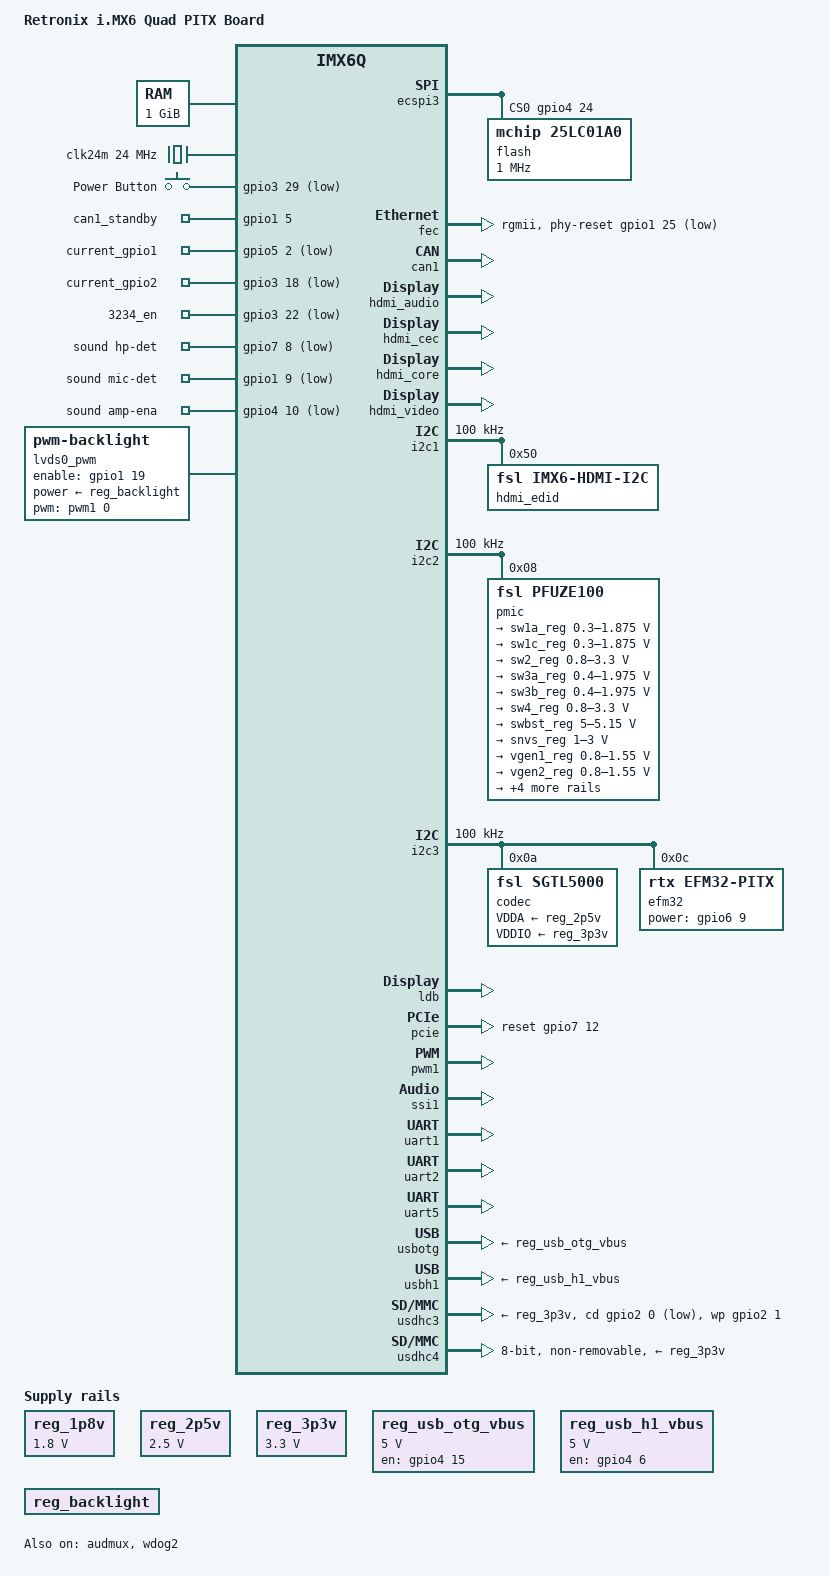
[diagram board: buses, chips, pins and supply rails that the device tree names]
/*
 * Copyright 2012 Freescale Semiconductor, Inc.
 * Copyright 2011 Linaro Ltd.
 *
 * The code contained herein is licensed under the GNU General Public
 * License. You may obtain a copy of the GNU General Public License
 * Version 2 or later at the following locations:
 *
 * http://www.opensource.org/licenses/gpl-license.html
 * http://www.gnu.org/copyleft/gpl.html
 */

/dts-v1/;

#include "skeleton.dtsi"
#include "imx6q-pinfunc.h"
#include <dt-bindings/gpio/gpio.h>
#include <dt-bindings/interrupt-controller/arm-gic.h>
#include <dt-bindings/clock/imx6qdl-clock.h>
#include <dt-bindings/input/input.h>
#include "rtx-imx6q-soc.dtsi"
#include "rtx-imx6q-pitx-b21-iomux.dtsi"

/ {
	model = "Retronix i.MX6 Quad PITX Board";
	compatible = "rtx,rtx-imx6q-pitx", "fsl,imx6q";

	aliases {
		mxcfb0 = &mxcfb1;
		mxcfb1 = &mxcfb2;
		mxcfb2 = &mxcfb3;
		mxcfb3 = &mxcfb4;
	};

	memory {
		reg = <0x10000000 0x40000000>;
	};

	clocks {
		clk24m: clk24m {
			compatible = "fixed-clock";
			#clock-cells = <0>;
			clock-frequency = <24000000>;
		};
	};

	regulators {
		compatible = "simple-bus";
		#address-cells = <1>;
		#size-cells = <0>;

		reg_1p8v: 1p8v {
			compatible = "regulator-fixed";
			regulator-name = "1P8V";
			regulator-min-microvolt = <1800000>;
			regulator-max-microvolt = <1800000>;
			regulator-always-on;
		};

		reg_2p5v: 2p5v {
			compatible = "regulator-fixed";
			regulator-name = "2P5V";
			regulator-min-microvolt = <2500000>;
			regulator-max-microvolt = <2500000>;
			regulator-always-on;
		};

		reg_3p3v: 3p3v {
			compatible = "regulator-fixed";
			regulator-name = "3P3V";
			regulator-min-microvolt = <3300000>;
			regulator-max-microvolt = <3300000>;
			regulator-always-on;
		};

		reg_usb_otg_vbus: usb_otg_vbus {
			compatible = "regulator-fixed";
			regulator-name = "usb_otg_vbus";
			regulator-min-microvolt = <5000000>;
			regulator-max-microvolt = <5000000>;
			gpio = <&gpio4 15 0>;
			enable-active-high;
		};

		reg_usb_h1_vbus: usb_h1_vbus {
			compatible = "regulator-fixed";
			regulator-name = "usb_h1_vbus";
			regulator-min-microvolt = <5000000>;
			regulator-max-microvolt = <5000000>;
			gpio = <&gpio4 6 0>;
			enable-active-high;
		};

		reg_backlight: backlight {
			compatible = "regulator-fixed";
			regulator-name = "lcd-supply";
			startup-delay-us = <5000>;
			enable-active-high;
		};

	};

	gpio-keys {
		compatible = "gpio-keys";
		pinctrl-names = "default";
		pinctrl-0 = <&pinctrl_keys_pitx>;

		power {
			label = "Power Button";
			gpios = <&gpio3 29 1>;
			linux,code = <KEY_POWER>; /* KEY_POWER */
			gpio-key,wakeup;
		};

	};

	gpio_export {
		compatible = "gpio-export";

		/* can1_standby = <&gpio1 5 0>; 5 */
		can1_standby {
			/*gpio-export,name = "can1_standby";*/
			gpio-export,output = <1>;
			gpio-export,direction_may_change ;
			gpios = <&gpio1 5 GPIO_ACTIVE_HIGH>;
		};

		/* current_gpio1 = <&gpio5 2 0>; 130 */
		current_gpio1 {
			/*gpio-export,name = "current_gpio1";*/
			gpio-export,output = <0>;
			gpio-export,direction_may_change ;
			gpios = <&gpio5 2 1>;
		};

		/* current_gpio2 = <&gpio3 18 0>; 82 */
		current_gpio2 {
			/*gpio-export,name = "current_gpio2";*/
			gpio-export,output = <1>;
			gpio-export,direction_may_change ;
			gpios = <&gpio3 18 1>;
		};

		/* 3234_en = <&gpio3 22 1>; 86 */
		3234_en {
			/*gpio-export,name = "3234_en";*/
			gpio-export,output = <1>;
			gpio-export,direction_may_change ;
			gpios = <&gpio3 22 1>;
		};

		/* UR1_M1 = <&gpio6 8 0>; 168
		UR1_M1 {
			gpio-export,name = "UR1_M1";
			gpio-export,output = <0>;
			gpio-export,direction_may_change ;
			gpios = <&gpio6 8 0>;
		}; */

		/* UR1_M0 = <&gpio6 7 1>; 167
		UR1_M0 {
			gpio-export,name = "UR1_M0";
			gpio-export,output = <1>;
			gpio-export,direction_may_change ;
			gpios = <&gpio6 7 1>;
		}; */

		/* UR1_TM = <&gpio6 16 0>; 176
		UR1_TM {
			gpio-export,name = "UR1_TM";
			gpio-export,output = <0>;
			gpio-export,direction_may_change ;
			gpios = <&gpio6 16 0>;
		};	 */

		/* amp_standby = <&gpio4 10 0>; 106
		amp_standby {
			gpio-export,output = <1>;
			gpio-export,direction_may_change ;
			gpios = <&gpio4 10 1>;
		}; */

	};

	sound {
		compatible = "fsl,imx6q-rtx-pitx-sgtl5000",
			     "fsl,imx-audio-sgtl5000";
		model = "imx6q-rtx-pitx-sgtl5000";
		ssi-controller = <&ssi1>;
		audio-codec = <&codec>;
		audio-routing =
			"MIC_IN", "Mic Jack",
			"LINE_IN", "Line In Jack",
			"Headphone Jack", "HP_OUT",
			"Ext Spk", "LINE_OUT";
		mux-int-port = <1>;
		mux-ext-port = <3>;
		hp-det-gpios = <&gpio7 8 1>;
		mic-det-gpios = <&gpio1 9 1>;
		amp-ena-gpios = <&gpio4 10 1>;
	};

	sound-hdmi {
		compatible = "fsl,imx6q-audio-hdmi",
			     "fsl,imx-audio-hdmi";
		model = "imx-audio-hdmi";
		hdmi-controller = <&hdmi_audio>;
	};

	lvds0_pwm {
		compatible = "pwm-backlight";
		pwms = <&pwm1 0 5000000>;
		brightness-levels = <0 4 8 16 32 64 128 255>;
		default-brightness-level = <6>;
		enable-gpios = <&gpio1 19 0>;
		power-supply = <&reg_backlight>;
		status = "okay";
	};

	hannstar_cabc {
		compatible = "hannstar,cabc";

		lvds0 {
			gpios = <&gpio1 19 GPIO_ACTIVE_HIGH>;
		};
	};

	mxcfb1: fb@0 {
		compatible = "fsl,mxc_sdc_fb";
		disp_dev = "ldb";
		interface_pix_fmt = "RGB666";
		default_bpp = <16>;
		int_clk = <0>;
		late_init = <0>;
		status = "okay";
	};

	mxcfb2: fb@1 {
		compatible = "fsl,mxc_sdc_fb";
		disp_dev = "ldb";
		interface_pix_fmt = "RGB666";
		default_bpp = <16>;
		int_clk = <0>;
		late_init = <0>;
		status = "okay";
	};

	mxcfb3: fb@2 {
		compatible = "fsl,mxc_sdc_fb";
		disp_dev = "hdmi";
		interface_pix_fmt = "RGB24";
		mode_str ="1920x1080M@60";
		default_bpp = <24>;
		int_clk = <0>;
		late_init = <0>;
		status = "okay";
	};

	mxcfb4: fb@3 {
		compatible = "fsl,mxc_sdc_fb";
		disp_dev = "lcd";
		interface_pix_fmt = "RGB565";
		mode_str ="CLAA-WVGA";
		default_bpp = <16>;
		int_clk = <0>;
		late_init = <0>;
		status = "okay";
	};
/*
	lcd@0 {
		compatible = "fsl,lcd";
		ipu_id = <1>;
		disp_id = <1>;
		default_ifmt = "RGB565";
		pinctrl-names = "default";
		pinctrl-0 = <&pinctrl_ipu1_pitx>;
		status = "okay";
	};

	v4l2_cap_0 {
		compatible = "fsl,imx6q-v4l2-capture";
		ipu_id = <0>;
		csi_id = <0>;
		mclk_source = <0>;
		status = "okay";
	};

	v4l2_cap_1 {
		compatible = "fsl,imx6q-v4l2-capture";
		ipu_id = <0>;
		csi_id = <1>;
		mclk_source = <0>;
		status = "okay";
	};

	v4l2_out {
		compatible = "fsl,mxc_v4l2_output";
		status = "okay";
	};
*/
};

&audmux {
	pinctrl-names = "default";
	pinctrl-0 = <&pinctrl_audmux_pitx>;
	status = "okay";
};

&cpu0 {
	arm-supply = <&reg_arm>;
	soc-supply = <&reg_soc>;
};

&ecspi3 {
	fsl,spi-num-chipselects = <1>;
	cs-gpios = <&gpio4 24 0>;
	pinctrl-names = "default";
	pinctrl-0 = <&pinctrl_cspi3_pitx>;
	status = "okay";

    /*flash: en25q32b@0 {
        compatible = "fsl,en25q32b";
        spi-max-frequency = <50000000>;
        reg = <0>;
	};*/

	flash@microchip {
		compatible = "mchip,25lc01a0";
		spi-max-frequency = <1000000>;
        size = <128>;
        pagesize = <16>;
        address-width = <8>;
        /*spi-cpha;
        spi-cpol;*/
		reg = <0>;
	};

};

&fec {
	pinctrl-names = "default";
	pinctrl-0 = <&pinctrl_enet_pitx>;
	phy-mode = "rgmii";
	phy-reset-gpios = <&gpio1 25 0>;
	phy-reset-fall-duration = <1>;
	phy-reset-rise-duration = <20>;
	phy-reset-boot-on;
	status = "okay";
};

&can1 {
	pinctrl-names = "default";
	pinctrl-0 = <&pinctrl_flexcan1_pitx>;
	status = "okay";
};

&gpc {
	fsl,ldo-bypass = <0>; /* use ldo-bypass, u-boot will check it and configure */
	fsl,wdog-reset = <2>; /* watchdog select of reset source */
};

&hdmi_audio {
	status = "okay";
};

&hdmi_cec {
	pinctrl-names = "default";
	pinctrl-0 = <&pinctrl_hdmi_cec_pitx>;
	status = "okay";
};

&hdmi_core {
	ipu_id = <1>;
	disp_id = <0>;
	status = "okay";
};

&hdmi_video {
	fsl,phy_reg_vlev = <0x0294>;
	fsl,phy_reg_cksymtx = <0x800d>;
	status = "okay";
};

&i2c1 {
	clock-frequency = <100000>;
	pinctrl-names = "default";
	pinctrl-0 = <&pinctrl_i2c1_pitx>;
	status = "okay";

	hdmi_edid: edid@50 {
		compatible = "fsl,imx6-hdmi-i2c";
		reg = <0x50>;
	};
};

&i2c2 {
	clock-frequency = <100000>;
	pinctrl-names = "default";
	pinctrl-0 = <&pinctrl_i2c2_pitx>;
	status = "okay";

	pmic: pfuze100@08 {
		compatible = "fsl,pfuze100";
		reg = <0x08>;

		regulators {
			sw1a_reg: sw1ab {
				regulator-min-microvolt = <300000>;
				regulator-max-microvolt = <1875000>;
				regulator-boot-on;
				regulator-always-on;
				regulator-ramp-delay = <6250>;
			};

			sw1c_reg: sw1c {
				regulator-min-microvolt = <300000>;
				regulator-max-microvolt = <1875000>;
				regulator-boot-on;
				regulator-always-on;
				regulator-ramp-delay = <6250>;
			};

			sw2_reg: sw2 {
				regulator-min-microvolt = <800000>;
				regulator-max-microvolt = <3300000>;
				regulator-boot-on;
				regulator-always-on;
			};

			sw3a_reg: sw3a {
				regulator-min-microvolt = <400000>;
				regulator-max-microvolt = <1975000>;
				regulator-boot-on;
				regulator-always-on;
			};

			sw3b_reg: sw3b {
				regulator-min-microvolt = <400000>;
				regulator-max-microvolt = <1975000>;
				regulator-boot-on;
				regulator-always-on;
			};

			sw4_reg: sw4 {
				regulator-min-microvolt = <800000>;
				regulator-max-microvolt = <3300000>;
				regulator-boot-on;
				regulator-always-on;
			};

			swbst_reg: swbst {
				regulator-min-microvolt = <5000000>;
				regulator-max-microvolt = <5150000>;
				regulator-always-on;
			};

			snvs_reg: vsnvs {
				regulator-min-microvolt = <1000000>;
				regulator-max-microvolt = <3000000>;
				regulator-boot-on;
				regulator-always-on;
			};

			vref_reg: vrefddr {
				regulator-boot-on;
				regulator-always-on;
			};

			vgen1_reg: vgen1 {
				regulator-min-microvolt = <800000>;
				regulator-max-microvolt = <1550000>;
				regulator-boot-on;
				regulator-always-on;
			};

			vgen2_reg: vgen2 {
				regulator-min-microvolt = <800000>;
				regulator-max-microvolt = <1550000>;
				regulator-boot-on;
				regulator-always-on;
			};

			vgen3_reg: vgen3 {
				regulator-min-microvolt = <1800000>;
				regulator-max-microvolt = <3300000>;
				regulator-boot-on;
				regulator-always-on;
			};

			vgen4_reg: vgen4 {
				regulator-min-microvolt = <1800000>;
				regulator-max-microvolt = <3300000>;
				regulator-always-on;
			};

			vgen5_reg: vgen5 {
				regulator-min-microvolt = <1800000>;
				regulator-max-microvolt = <3300000>;
				regulator-always-on;
			};

			vgen6_reg: vgen6 {
				regulator-min-microvolt = <1800000>;
				regulator-max-microvolt = <3300000>;
				regulator-always-on;
			};
		};
	};


};

&i2c3 {
	clock-frequency = <100000>;
	pinctrl-names = "default";
	pinctrl-0 = <&pinctrl_i2c3_pitx>;
	status = "okay";

	codec: sgtl5000@0a {
		compatible = "fsl,sgtl5000";
		reg = <0x0a>;
		clocks = <&clks IMX6QDL_CLK_CKO>;
		VDDA-supply = <&reg_2p5v>;
		VDDIO-supply = <&reg_3p3v>;
		amic-mono;
	};

	efm32: rtx-efm32@0c {
		compatible = "rtx,efm32-pitx";
		pinctrl-names = "default";
		pinctrl-0 = <&pinctrl_mcu_pitx>;
		reg = <0x0c>;
		gpio-power = <&gpio6 9 0>;
	};
};

&ldb {
	status = "okay";

	lvds-channel@0 {
		fsl,data-mapping = "spwg";
		fsl,data-width = <24>;
		primary;
		crtc = "ipu1-di0";
		interface_pix_fmt = "RGB24";
		status = "okay";

		display-timings {
			native-mode = <&timing0>;
			timing0: hsd100pxn1 {
				clock-frequency = <65000000>;
				hactive = <1280>;
				hfront-porch = <48>;
				hback-porch = <80>;
				hsync-len = <32>;
				vactive = <800>;
				vfront-porch = <3>;
				vback-porch = <14>;
				vsync-len = <6>;
				mode-is-detailed ;
				de-active = <1>;
			};
		};
	};

	lvds-channel@1 {
		fsl,data-mapping = "spwg";
		fsl,data-width = <24>;
		primary;
		crtc = "ipu1-di1";
		interface_pix_fmt = "RGB24";
		status = "okay";

		display-timings {
			native-mode = <&timing1>;
			timing1: hsd100pxn2 {
				clock-frequency = <65000000>;
				hactive = <1024>;
				hfront-porch = <240>;
				hback-porch = <0>;
				hsync-len = <80>;
				vactive = <768>;
				vfront-porch = <28>;
				vback-porch = <0>;
				vsync-len = <7>;
				mode-is-detailed ;
				de-active = <1>;
			};
		};
	};
};

&pcie {
	pinctrl-names = "default";
	pinctrl-0 = <&pinctrl_pcie_pitx>;
	reset-gpio = <&gpio7 12 0>;
	status = "okay";
};

&pwm1 {
	pinctrl-names = "default";
	pinctrl-0 = <&pinctrl_pwm1_pitx>;
	status = "okay";
};

&ssi1 {
	fsl,mode = "i2s-slave";
	status = "okay";
};

&uart1 {
	pinctrl-names = "default", "rs422" ;
	pinctrl-0 = <&pinctrl_uart1_dte_rs232>;
	pinctrl-1 = <&pinctrl_uart1_dte_rs422>;
    /* fsl,dte-mode;
    DTE mode : CSI0_DAT10 is RX; CSI0_DAT11 is TX; EIM_D19 is RTS; EIM_D20 is CTS;
    DCE mode : CSI0_DAT10 is TX; CSI0_DAT11 is RX; EIM_D19 is CTS; EIM_D20 is RTS;
    */
    fsl,dte-mode;
	fsl,uart-has-rtscts;
	fsl,sp339e;
	fsl,sp339e-dir    = <&gpio3 20 0> ;
	fsl,sp339e-m0     = <&gpio3 23 0> ;
	fsl,sp339e-m1     = <&gpio3 25 0> ;
	fsl,sp339e-tm     = <&gpio3 24 0> ;
	fsl,sp339e-slew   = <&gpio4 9 0> ;
	status = "okay";
};

&uart2 {
	pinctrl-names = "default";
	pinctrl-0 = <&pinctrl_uart2_pitx>;
    /* fsl,dte-mode;
    DTE mode : EIM_D26 is RX; EIM_D27 is TX;
    DCE mode : EIM_D26 is TX; EIM_D27 is RX;
    */
	status = "okay";
};

&uart5 {
	pinctrl-names = "default", "rs422";
	pinctrl-0 = <&pinctrl_uart5_dte_rs232>;
	pinctrl-1 = <&pinctrl_uart5_dte_rs422>;
    /* fsl,dte-mode;
    DTE mode : CSI0_DAT14 is RX; CSI0_DAT15 is TX; KEY_ROW4 is RTS; KEY_COL4 is CTS;
    DCE mode : CSI0_DAT14 is TX; CSI0_DAT15 is RX; KEY_ROW4 is CTS; KEY_COL4 is RTS;
    */
    fsl,dte-mode;
	fsl,uart-has-rtscts;
	fsl,sp339e;
	fsl,sp339e-dir    = <&gpio6 4 0> ;
	fsl,sp339e-m0     = <&gpio6 7 0> ;
	fsl,sp339e-m1     = <&gpio6 14 0> ;
	fsl,sp339e-tm     = <&gpio6 16 0> ;
	fsl,sp339e-slew   = <&gpio4 8 0> ;
	status = "okay";
};

&usbotg {
	pinctrl-names = "default";
	pinctrl-0 = <&pinctrl_usbotg_pitx>;
	vbus-supply = <&reg_usb_otg_vbus>;
	status = "okay";
};

&usbh1 {
	pinctrl-names = "default";
	pinctrl-0 = <&pinctrl_usbh1_pitx>;
	vbus-supply = <&reg_usb_h1_vbus>;
	status = "okay";
};

&usdhc3 {
	pinctrl-names = "default";
	pinctrl-0 = <&pinctrl_usdhc3_pitx_50mhz &pinctrl_usdhc3_cd_wp_pitx>;
	cd-gpios = <&gpio2 0 GPIO_ACTIVE_LOW>;
	wp-gpios = <&gpio2 1 GPIO_ACTIVE_HIGH>;
	vmmc-supply = <&reg_3p3v>;
	no-1-8-v;
	keep-power-in-suspend;
	enable-sdio-wakeup;
	status = "okay";
};

&usdhc4 {
	pinctrl-names = "default";
	pinctrl-0 = <&pinctrl_usdhc4_pitx>;
	vmmc-supply = <&reg_3p3v>;
	bus-width = <8>;
	non-removable;
	no-1-8-v;
	keep-power-in-suspend;
	status = "okay";
};

&wdog1 {
	status = "disabled";
};

&wdog2 {
	pinctrl-names = "default";
	fsl,wdog_b;
	status = "okay";
};
